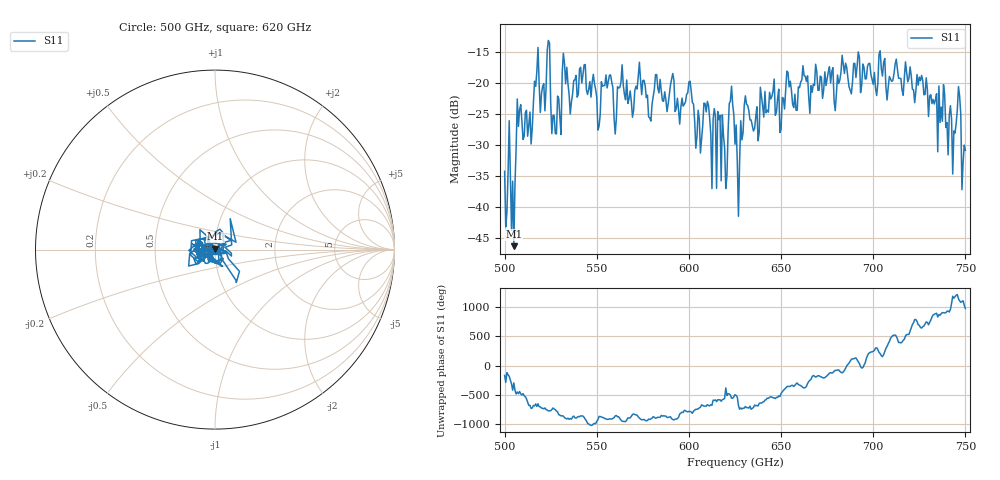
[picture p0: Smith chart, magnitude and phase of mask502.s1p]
!Created with skrf (http://scikit-rf.org).
# GHz S MA R 50.0
!freq magS11 angS11
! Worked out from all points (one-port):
!   401 points, 500 GHz to 750 GHz, reference 50 ohm
!   lowest |S11| = -46.3 dB at 505 GHz (marker M1), VSWR 1.01, Z = 50.2 + j0.436 ohm
!   |S11| at or under -10 dB: start of sweep to end of sweep
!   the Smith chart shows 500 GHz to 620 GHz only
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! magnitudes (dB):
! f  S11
! 500 GHz  -34.3
! 505 GHz  -46.3
! 508.1 GHz  -24.4
! 513.8 GHz  -24.7
! 516.9 GHz  -20.6
! 520.6 GHz  -20.6
! 523.8 GHz  -13.2
! 526.9 GHz  -25.3
! 531.2 GHz  -18.4
! 542.5 GHz  -18.7
! 550.6 GHz  -27.6
! 562.5 GHz  -20.8
! 590.6 GHz  -19.4
! 593.8 GHz  -22.5
! 600 GHz  -19.9
! 605 GHz  -24.4
! 609.4 GHz  -24.7
! 620 GHz  -37.0
! 623.1 GHz  -20.6
! 625 GHz  -29.9
! 626.2 GHz  -32.8
! 631.2 GHz  -23.5
! 656.2 GHz  -23.5
! 687.5 GHz  -21.2
! 718.8 GHz  -19.9
! 741.9 GHz  -23.7
! 746.2 GHz  -20.6
! 750 GHz  -30.9
